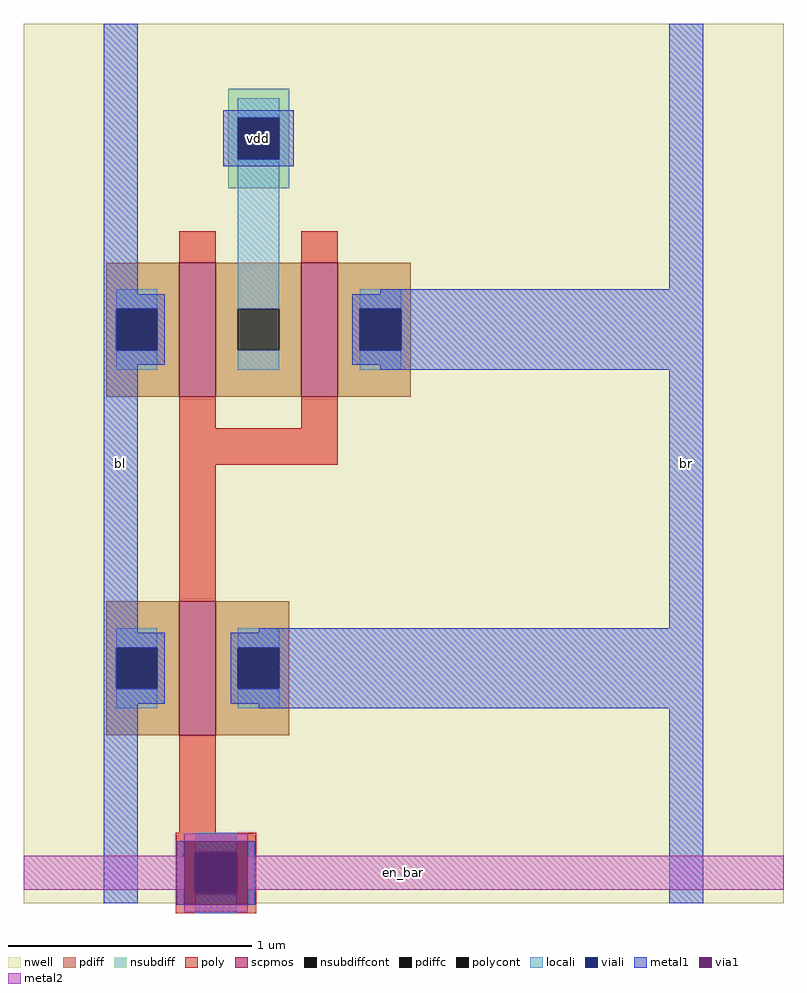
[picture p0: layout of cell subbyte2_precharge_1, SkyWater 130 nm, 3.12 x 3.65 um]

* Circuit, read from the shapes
.subckt subbyte2_precharge_1 en_bar vdd bl br
XM1 br en_bar bl vdd sky130_fd_pr__pfet_01v8 w=0.55 l=0.15
XM2 vdd en_bar bl vdd sky130_fd_pr__pfet_01v8 w=0.55 l=0.15
XM3 br en_bar vdd vdd sky130_fd_pr__pfet_01v8 w=0.55 l=0.15
.ends

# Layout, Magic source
magic
tech sky130A
magscale 1 2
<< nwell >>
rect 0 0 624 722
<< scpmos >>
rect 128 416 158 526
rect 228 416 258 526
rect 128 138 158 248
<< pdiff >>
rect 68 488 128 526
rect 68 454 76 488
rect 110 454 128 488
rect 68 416 128 454
rect 158 488 228 526
rect 158 454 176 488
rect 210 454 228 488
rect 158 416 228 454
rect 258 488 318 526
rect 258 454 276 488
rect 310 454 318 488
rect 258 416 318 454
rect 68 210 128 248
rect 68 176 76 210
rect 110 176 128 210
rect 68 138 128 176
rect 158 210 218 248
rect 158 176 176 210
rect 210 176 218 210
rect 158 138 218 176
<< pdiffc >>
rect 76 454 110 488
rect 176 454 210 488
rect 276 454 310 488
rect 76 176 110 210
rect 176 176 210 210
<< nsubdiff >>
rect 168 645 218 669
rect 168 611 176 645
rect 210 611 218 645
rect 168 587 218 611
<< nsubdiffcont >>
rect 176 611 210 645
<< poly >>
rect 128 526 158 552
rect 228 526 258 552
rect 128 390 158 416
rect 228 390 258 416
rect 128 360 258 390
rect 128 248 158 360
rect 128 58 158 138
rect 125 42 191 58
rect 125 8 141 42
rect 175 8 191 42
rect 125 -8 191 8
<< polycont >>
rect 141 8 175 42
<< locali >>
rect 176 645 210 661
rect 76 488 110 504
rect 76 438 110 454
rect 176 488 210 611
rect 176 438 210 454
rect 276 488 310 504
rect 276 438 310 454
rect 76 210 110 226
rect 76 160 110 176
rect 176 210 210 226
rect 176 160 210 176
rect 141 42 175 58
rect 141 -8 175 8
<< viali >>
rect 176 611 210 645
rect 76 454 110 488
rect 276 454 310 488
rect 76 176 110 210
rect 176 176 210 210
rect 141 8 175 42
<< metal1 >>
rect 66 500 94 722
rect 164 645 222 651
rect 164 611 176 645
rect 210 611 222 645
rect 164 605 222 611
rect 530 504 558 722
rect 293 500 558 504
rect 66 488 116 500
rect 66 454 76 488
rect 110 454 116 488
rect 66 442 116 454
rect 270 488 558 500
rect 270 454 276 488
rect 310 454 558 488
rect 270 442 558 454
rect 66 222 94 442
rect 293 438 558 442
rect 530 226 558 438
rect 193 222 558 226
rect 66 210 116 222
rect 66 176 76 210
rect 110 176 116 210
rect 66 164 116 176
rect 170 210 558 222
rect 170 176 176 210
rect 210 176 558 210
rect 170 164 558 176
rect 66 0 94 164
rect 193 160 558 164
rect 126 -1 132 51
rect 184 -1 190 51
rect 530 0 558 160
<< via1 >>
rect 132 42 184 51
rect 132 8 141 42
rect 141 8 175 42
rect 175 8 184 42
rect 132 -1 184 8
<< metal2 >>
rect 132 51 184 57
rect 0 11 132 39
rect 184 11 624 39
rect 132 -7 184 -1
<< labels >>
rlabel metal2 s 0 11 624 39 4 en_bar
port 3 nsew
rlabel locali s 193 628 193 628 4 vdd
port 4 nsew
rlabel metal1 s 66 0 94 722 4 bl
port 6 nsew
rlabel metal1 s 530 0 558 722 4 br
port 8 nsew
<< properties >>
string FIXED_BBOX 105 -28 211 0
<< end >>
